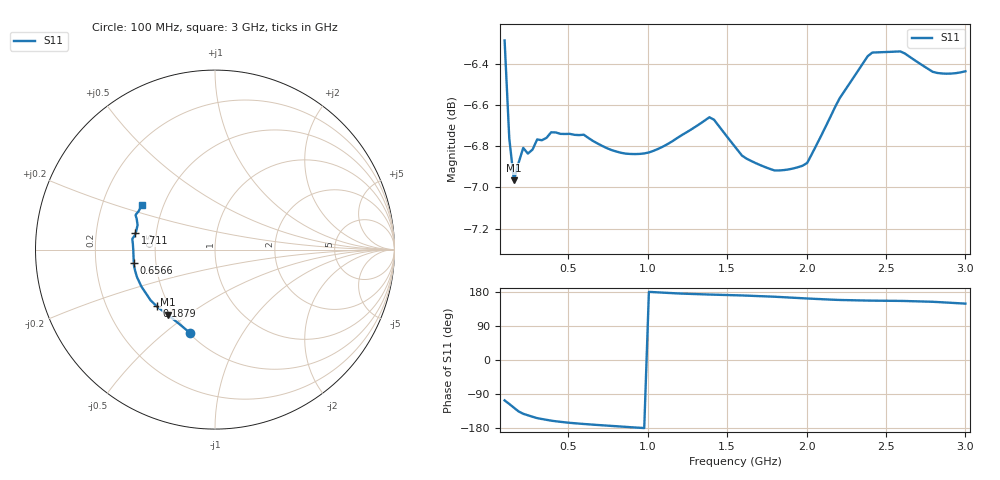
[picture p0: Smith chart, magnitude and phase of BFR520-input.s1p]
#Hz S ri R 50
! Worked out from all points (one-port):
!   100 points, 100 MHz to 3 GHz, reference 50 ohm
!   lowest |S11| = -7.0 dB at 158.6 MHz (marker M1), VSWR 2.63, Z = 23.1 - j21 ohm
!   |S11| at or under -10 dB: nowhere
!   S11 on the Smith chart (normalised r, x): 100 MHz: 0.51, -0.61; 187.9 MHz: 0.43, -0.34; 656.6 MHz: 0.37, -0.07; 1.711 GHz: 0.38, +0.09; 3 GHz: 0.38, +0.24
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1e8  -0.1385 -0.4648
1.29293e8  -0.2012 -0.4127
1.58586e8  -0.2631 -0.3632
1.87879e8  -0.3242 -0.3162
2.17172e8  -0.3594 -0.2817
2.46465e8  -0.3768 -0.2554
3.05051e8  -0.4103 -0.2055
3.92929e8  -0.4331 -0.1569
4.80808e8  -0.4435 -0.1229
5.10101e8  -0.4462 -0.113
5.9798e8  -0.4514 -0.089
6.56566e8  -0.4523 -0.0749
8.32323e8  -0.4541 -0.0349
1.00808e9  -0.4555 0.00188
1.21313e9  -0.4583 0.038
1.38889e9  -0.4609 0.0587
1.56465e9  -0.4502 0.0739
1.71111e9  -0.4431 0.0906
1.79899e9  -0.4394 0.1016
1.91616e9  -0.4346 0.122
2.00404e9  -0.4315 0.1375
2.1798e9  -0.4358 0.1684
2.29697e9  -0.4392 0.1811
2.41414e9  -0.4422 0.1911
2.5899e9  -0.4402 0.1964
2.64848e9  -0.4368 0.2005
2.79495e9  -0.4268 0.2119
3e9  -0.4075 0.2474
